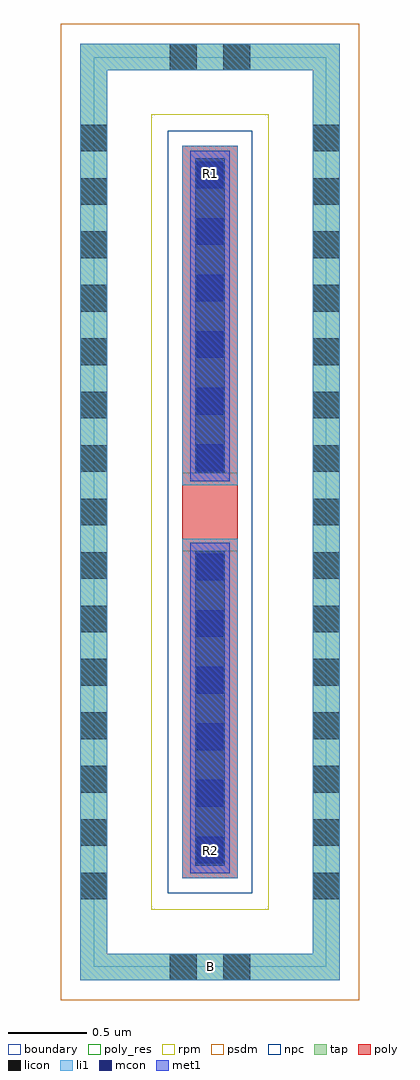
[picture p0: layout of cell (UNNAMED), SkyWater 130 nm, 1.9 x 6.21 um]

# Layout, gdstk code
import gdstk
lib = gdstk.Library(unit=1e-6, precision=1e-09)
def R(c, l, rs):  # rectangles x0, y0, x1, y1
    for r in rs: c.add(gdstk.rectangle(r[:2], r[2:], *l))
def A(c, l, x, y, w, h, nx, ny, dx, dy):  # array of equal rectangles
    R(c, l, [(x+i*dx, y+j*dy, x+i*dx+w, y+j*dy+h) for i in range(nx) for j in range(ny)])
tap = (65, 44)
poly_res = (66, 13)
poly = (66, 20)
licon = (66, 44)
li1 = (67, 20)
mcon = (67, 44)
met1 = (68, 20)
rpm = (86, 20)
psdm = (94, 20)
npc = (95, 20)
boundary = (235, 4)

c__unnamed_ = lib.new_cell('(UNNAMED)')
R(c__unnamed_, tap, [(-0.825,-2.98,0.825,-2.81), (-0.825,-2.81,-0.655,2.81), (0.655,-2.81,0.825,2.81), (-0.825,2.81,0.825,2.98)])
R(c__unnamed_, poly_res, [(-0.175,-0.25,0.175,0.25)])
R(c__unnamed_, poly, [(-0.175,-2.33,0.175,2.33)])
A(c__unnamed_, licon, -0.825, -2.465, 0.17, 0.17, 1, 15, 0, 0.34)
A(c__unnamed_, licon, 0.655, -2.465, 0.17, 0.17, 1, 15, 0, 0.34)
R(c__unnamed_, licon, [(-0.255,-2.98,-0.085,-2.81), (0.085,-2.98,0.255,-2.81), (-0.095,-2.25,0.095,-0.25), (-0.095,0.25,0.095,2.25), (-0.255,2.81,-0.085,2.98), (0.085,2.81,0.255,2.98)])
R(c__unnamed_, li1, [(-0.825,-2.98,0.825,-2.81), (-0.825,-2.81,-0.655,2.81), (0.655,-2.81,0.825,2.81), (-0.175,-2.33,0.175,-0.17), (-0.175,0.17,0.175,2.33), (-0.825,2.81,0.825,2.98)])
A(c__unnamed_, mcon, -0.085, -2.235, 0.17, 0.17, 1, 6, 0, 0.36)
A(c__unnamed_, mcon, -0.085, 0.26, 0.17, 0.17, 1, 6, 0, 0.36)
R(c__unnamed_, met1, [(-0.125,-2.3,0.125,-0.195), (-0.125,0.195,0.125,2.3)])
R(c__unnamed_, rpm, [(-0.375,-2.53,0.375,2.53)])
R(c__unnamed_, psdm, [(-0.95,-3.105,0.95,3.105)])
R(c__unnamed_, npc, [(-0.27,-2.425,0.27,2.425)])
R(c__unnamed_, boundary, [(-0.74,-2.895,0.74,2.895)])
c__unnamed_.add(gdstk.Label('B', (0,-2.895), layer=67, texttype=5))
c__unnamed_.add(gdstk.Label('R1', (0,2.155), layer=67, texttype=5))
c__unnamed_.add(gdstk.Label('R2', (0,-2.155), layer=67, texttype=5))

lib.write_gds('_UNNAMED_.gds')
